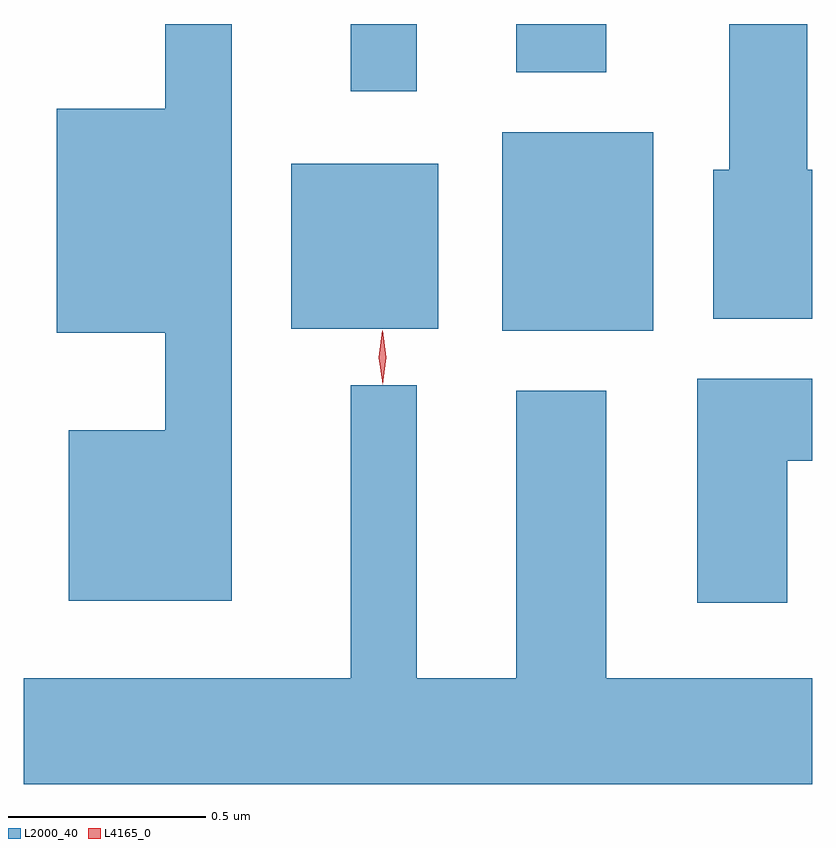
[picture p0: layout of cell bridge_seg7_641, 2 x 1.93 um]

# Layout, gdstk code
import gdstk
lib = gdstk.Library(unit=1e-6, precision=1e-09)
def R(c, l, rs):  # rectangles x0, y0, x1, y1
    for r in rs: c.add(gdstk.rectangle(r[:2], r[2:], *l))
def P(c, l, *ps):  # polygons
    for p in ps: c.add(gdstk.Polygon(p, *l))
L2000_40 = (2000, 40)
L4165_0 = (4165, 0)

bridge_seg7_641 = lib.new_cell('bridge_seg7_641')
R(bridge_seg7_641, L2000_40, [(820.236,1706.586,820.619,1707.089), (819.701,1706.591,820.074,1707.009), (819.851,1707.193,820.019,1707.364), (820.271,1707.241,820.499,1707.364)])
P(bridge_seg7_641, L2000_40, [(819.549,1707.364),(819.381,1707.364),(819.381,1707.149),(819.106,1707.149),(819.106,1706.581),(819.381,1706.581),(819.381,1706.334),(819.136,1706.334),(819.136,1705.901),(819.549,1705.901)],
  [(821.022,1706.994),(821.009,1706.994),(821.009,1707.364),(820.811,1707.364),(820.811,1706.994),(820.771,1706.994),(820.771,1706.616),(821.022,1706.616)],
  [(820.959,1706.256),(821.022,1706.256),(821.022,1706.464),(820.731,1706.464),(820.731,1705.896),(820.959,1705.896)],
  [(821.022,1705.704),(820.499,1705.704),(820.499,1706.434),(820.271,1706.434),(820.271,1705.704),(820.019,1705.704),(820.019,1706.448),(819.851,1706.448),(819.851,1705.704),(819.022,1705.704),(819.022,1705.436),(821.022,1705.436)])
P(bridge_seg7_641, L4165_0, [(819.932,1706.45),(819.922,1706.518),(819.931,1706.586),(819.932,1706.586),(819.932,1706.586),(819.942,1706.518),(819.933,1706.45),(819.933,1706.45)],
  [(819.932,1706.453),(819.922,1706.517),(819.931,1706.581),(819.932,1706.582),(819.932,1706.581),(819.942,1706.517),(819.933,1706.453),(819.933,1706.453)])

lib.write_gds('bridge_seg7_641.gds')
